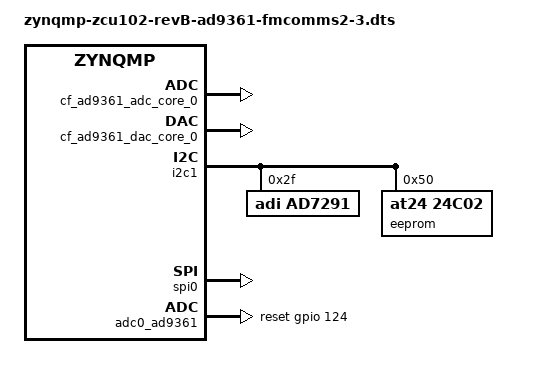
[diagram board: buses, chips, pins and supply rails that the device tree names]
/*
 * dts file for FMCOMMS2/3 AD9361 on Xilinx ZynqMP ZCU102 RevB
 *
 * Copyright (C) 2016 Analog Devices Inc.
 *
 * Licensed under the GPL-2.
 */

#include "zynqmp-zcu102-revB.dts"

&i2c1 {
	i2cswitch@75 {
		i2c@0 {
			#address-cells = <1>;
			#size-cells = <0>;
			reg = <0>;
			/* HPC0_IIC */
			ad7291@2f {
				compatible = "adi,ad7291";
				reg = <0x2f>;
			};

			eeprom@50 {
				compatible = "at24,24c02";
				reg = <0x50>;
			};

		};
	};
};

/ {
	fpga_axi: fpga-axi@0 {
		interrupt-parent = <&gic>;
		compatible = "simple-bus";
		#address-cells = <0x2>;
		#size-cells = <0x1>;
		ranges = <0 0 0 0 0xffffffff>;

		rx_dma: dma@9c400000 {
			compatible = "adi,axi-dmac-1.00.a";
			reg = <0x0 0x9c400000 0x10000>;
			#dma-cells = <1>;
			interrupts = <0 109 0>;
			clocks = <&clk100>;

			dma-channel {
				adi,source-bus-width = <64>;
				adi,destination-bus-width = <128>;
				adi,type = <0>;
			};
		};

		tx_dma: dma@9c420000  {
			compatible = "adi,axi-dmac-1.00.a";
			reg = <0x0 0x9c420000 0x10000>;
			#dma-cells = <1>;
			interrupts = <0 108 0>;
			clocks = <&clk100>;

			dma-channel {
				adi,source-bus-width = <128>;
				adi,destination-bus-width = <64>;
				adi,type = <1>;
				adi,cyclic;
			};
		};

		cf_ad9361_adc_core_0: cf-ad9361-lpc@99020000 {
			compatible = "adi,axi-ad9361-6.00.a";
			reg = <0x0 0x99020000 0x6000>;
			dmas = <&rx_dma 0>;
			dma-names = "rx";
			spibus-connected = <&adc0_ad9361>;
		};

		cf_ad9361_dac_core_0: cf-ad9361-dds-core-lpc@99024000 {
			compatible = "adi,axi-ad9361-dds-6.00.a";
			reg = <0x0 0x99024000 0x1000>;
			clocks = <&adc0_ad9361 13>;
			clock-names = "sampl_clk";
			dmas = <&tx_dma 0>;
			dma-names = "tx";
		};
	};
};

&spi0 {
	status = "okay";
};

#define fmc_spi spi0

#include "adi-fmcomms2.dtsi"

&adc0_ad9361 {
	en_agc-gpios = <&gpio 122 0>;
	sync-gpios = <&gpio 123 0>;
	reset-gpios = <&gpio 124 0>;
	enable-gpios = <&gpio 125 0>;
	txnrx-gpios = <&gpio 126 0>;
};
